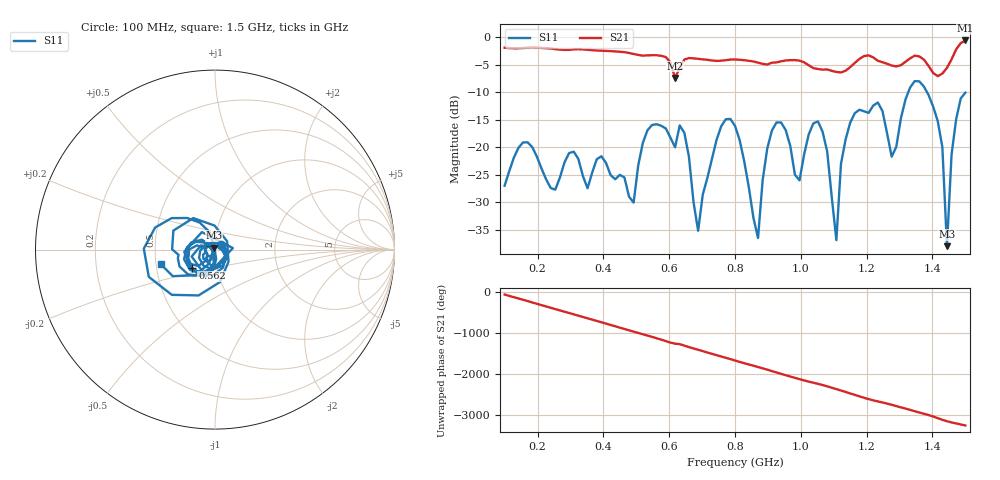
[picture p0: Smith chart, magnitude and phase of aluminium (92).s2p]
! NanoVNA-App
! Date: 2025-09-25 14:55:59
! Start: 100MHz Stop: 1,5GHz Points: 101
! S-Parameter data: F S11 S21 S12 S22
# Hz S RI R 50
!  Frequency  S11_Real  S11_Imag  S21_Real  S21_Imag  S12_Real  S12_Imag  S22_Real  S22_Imag
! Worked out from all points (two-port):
!   101 points, 100 MHz to 1.5 GHz, reference 50 ohm
!   highest |S21| = -0.60 dB at 1.5 GHz (marker M1); lowest = -7.4 dB at 618 MHz (marker M2)
!   |S21| within 3 dB of the highest: start of sweep to 588.1 MHz; 1.461 GHz to end of sweep (the widest 2 of 4)
!   lowest |S11| = -38.0 dB at 1.444 GHz (marker M3), VSWR 1.03, Z = 49.5 + j1.13 ohm
!   |S11| at or under -10 dB: start of sweep to 1.327 GHz; 1.383 GHz to end of sweep
!   S12 and S22 are empty: the file has one direction only
!   S11 on the Smith chart (normalised r, x): 100 MHz: 1.07, +0.06; 562 MHz: 0.76, -0.16; 1.5 GHz: 0.53, -0.10
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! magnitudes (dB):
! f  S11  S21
! 100 MHz  -27.0  -1.9
! 338 MHz  -25.3  -2.2
! 492 MHz  -30.1  -3.1
! 562 MHz  -15.8  -3.3
! 576 MHz  -16.1  -3.4
! 618 MHz  -20.0  -7.4
! 646 MHz  -17.4  -4.1
! 688 MHz  -35.2  -3.9
! 800 MHz  -16.1  -4.0
! 870 MHz  -36.5  -4.6
! 912 MHz  -17.0  -4.6
! 996 MHz  -26.0  -4.3
! 1.038 GHz  -15.7  -5.6
! 1.108 GHz  -36.9  -6.3
! 1.122 GHz  -23.0  -6.4
! 1.164 GHz  -13.8  -4.7
! 1.276 GHz  -21.7  -5.2
! 1.374 GHz  -9.0  -4.1
! 1.43 GHz  -20.0  -6.6
! 1.444 GHz  -38.0  -5.6
! 1.458 GHz  -21.3  -4.0
! 1.5 GHz  -10.1  -0.6
